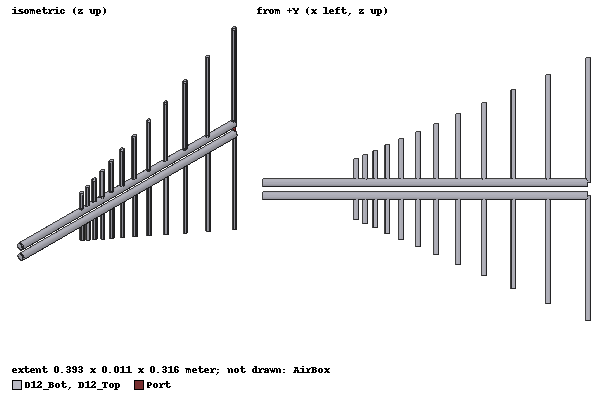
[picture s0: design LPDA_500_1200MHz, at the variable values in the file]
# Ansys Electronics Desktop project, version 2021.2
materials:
  vacuum: permittivity=1
  pec: conductivity=1e+30
  air: permittivity=1.0006 permeability=1.0000004

design LPDA_500_1200MHz (HFSS, DrivenModal, model units meter)
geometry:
  Boom_Top = cylinder(axis=X, base_centre=(0, 0.01, 0), radius=0.005, height=0.39)
  Boom_Bot = cylinder(axis=X, base_centre=(0, -0.01, 0), radius=0.005, height=0.39)
  D1_Top = cylinder(axis=Z, base_centre=(0, 0.01, 0), radius=0.003, height=0.15)
  D1_Bot = cylinder(axis=Z, base_centre=(0, -0.01, 0), radius=0.003, height=0.15)
  D2_Top = cylinder(axis=Z, base_centre=(0.048, 0.01, 0), radius=0.003, height=0.129)
  D2_Bot = cylinder(axis=Z, base_centre=(0.048, -0.01, 0), radius=0.003, height=0.129)
  D3_Top = cylinder(axis=Z, base_centre=(0.08928, 0.01, 0), radius=0.003, height=0.11094)
  D3_Bot = cylinder(axis=Z, base_centre=(0.08928, -0.01, 0), radius=0.003, height=0.11094)
  D4_Top = cylinder(axis=Z, base_centre=(0.1247808, 0.01, 0), radius=0.003, height=0.0954084)
  D4_Bot = cylinder(axis=Z, base_centre=(0.1247808, -0.01, 0), radius=0.003, height=0.0954084)
  D5_Top = cylinder(axis=Z, base_centre=(0.155311488, 0.01, 0), radius=0.003, height=0.082051224)
  D5_Bot = cylinder(axis=Z, base_centre=(0.155311488, -0.01, 0), radius=0.003, height=0.082051224)
  D6_Top = cylinder(axis=Z, base_centre=(0.18156788, 0.01, 0), radius=0.003, height=0.070564053)
  D6_Bot = cylinder(axis=Z, base_centre=(0.18156788, -0.01, 0), radius=0.003, height=0.070564053)
  D7_Top = cylinder(axis=Z, base_centre=(0.20414838, 0.01, 0), radius=0.003, height=0.060685085)
  D7_Bot = cylinder(axis=Z, base_centre=(0.20414838, -0.01, 0), radius=0.003, height=0.060685085)
  D8_Top = cylinder(axis=Z, base_centre=(0.2235676, 0.01, 0), radius=0.003, height=0.052189173)
  D8_Bot = cylinder(axis=Z, base_centre=(0.2235676, -0.01, 0), radius=0.003, height=0.052189173)
  D9_Top = cylinder(axis=Z, base_centre=(0.24026814, 0.01, 0), radius=0.003, height=0.044882689)
  D9_Bot = cylinder(axis=Z, base_centre=(0.24026814, -0.01, 0), radius=0.003, height=0.044882689)
  D10_Top = cylinder(axis=Z, base_centre=(0.2546306, 0.01, 0), radius=0.003, height=0.038599113)
  D10_Bot = cylinder(axis=Z, base_centre=(0.2546306, -0.01, 0), radius=0.003, height=0.038599113)
  D11_Top = cylinder(axis=Z, base_centre=(0.26698232, 0.01, 0), radius=0.003, height=0.033195237)
  D11_Bot = cylinder(axis=Z, base_centre=(0.26698232, -0.01, 0), radius=0.003, height=0.033195237)
  D12_Top [pec] = cylinder(axis=Z, base_centre=(0.27760479, 0.01, 0), radius=0.003, height=0.028547904)
  D12_Bot [pec] = cylinder(axis=Z, base_centre=(0.27760479, -0.01, 0), radius=0.003, height=0.028547904)
  AirBox [air] = box(corner=(-0.9, -0.9, -0.9), size=(1.8, 1.8, 1.8))
  D1_Bot.unite(Boom_Bot)
  D1_Top.unite(Boom_Top)
  D2_Bot.unite(D1_Bot)
  D2_Top.unite(D1_Top)
  D3_Bot.unite(D2_Bot)
  D3_Top.unite(D2_Top)
  D4_Bot.unite(D3_Bot)
  D4_Top.unite(D3_Top)
  D5_Bot.unite(D4_Bot)
  D5_Top.unite(D4_Top)
  D6_Bot.unite(D5_Bot)
  D6_Top.unite(D5_Top)
  D7_Bot.unite(D6_Bot)
  D7_Top.unite(D6_Top)
  D8_Bot.unite(D7_Bot)
  D8_Top.unite(D7_Top)
  D9_Bot.unite(D8_Bot)
  D9_Top.unite(D8_Top)
  D10_Bot.unite(D9_Bot)
  D10_Top.unite(D9_Top)
  D11_Bot.unite(D10_Bot)
  D11_Top.unite(D10_Top)
  D12_Bot.unite(D11_Bot)
  D12_Top.unite(D11_Top)
  D12_Bot.rotate(axis=X, angle=180deg)
  D12_Bot.move(0.02meter, -0.02meter, 0meter)
  D12_Bot.move(0meter, 0.01meter, 0meter)
  D12_Bot.move(-0.02meter, 0.013meter, -0.001meter)
  D12_Bot.move(0meter, -0.002meter, -0.015meter)
  Port = rectangle(corner=(0meter, 0.013meter, 0meter), y_size=-0.005meter, z_size=-0.016meter)
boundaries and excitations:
  Rad1: Radiation Objects=AirBox
  1: Lumped Port Objects=Port Modes{Mode1{IntLine{middle of Port.edge(z at corner) -> middle of Port.edge(z opposite corner)} CharImp=Zpi RenormImp=50ohm}} Impedance=50ohm
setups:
  Setup1: HfssDrivenAuto AutoSolverSetting=Balanced SaveAnyFields=false Type=Interpolating
    sweep Sweep: 0.5GHz to 1.2GHz, 501 points;
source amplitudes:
  1:1: 1W 0deg
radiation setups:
  Infinite Sphere1: Infinite Sphere Theta=0deg..180deg step 2deg Phi=-180deg..180deg step 2deg
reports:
  S Parameter Plot 1: dB(S(1,1)) vs Freq on Setup1 : Sweep
